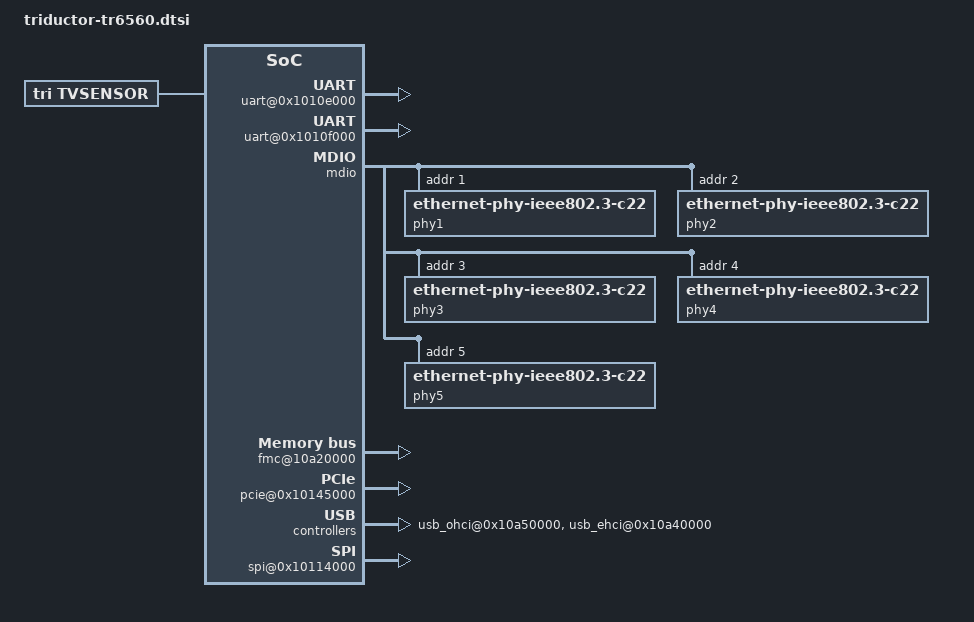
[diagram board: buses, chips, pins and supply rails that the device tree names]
/*
 * dts file for TRIDUCTOR Ltd. tr6560  Board
 *
 * Copyright (C) 2021-07-29, TRIDUCTOR Ltd.
 *
 */

#include <dt-bindings/gpio/gpio.h>
#include <dt-bindings/input/input.h>
#include <dt-bindings/phy/phy.h>
#include <dt-bindings/interrupt-controller/irq.h>
#include <dt-bindings/interrupt-controller/arm-gic.h>
 
/dts-v1/;

/ {
	compatible = "triductor,tr6560";
	#address-cells = <1>;
	#size-cells = <1>;   
	interrupt-parent = <&gic>;
	
	chosen {
		bootargs = "noinitrd mem=110M@0x80000000 console=ttyS1,115200  mtdparts=10a20000.fmc:512K(boot),8M(kernela),16M(rootfsa)";
	};
	
	cpus {
		#address-cells = <0x1>;
		#size-cells = <0x0>;
		enable-method = "tri,tr6560-cpu-method";

		cpu@0 {
			device_type = "cpu";
			compatible = "arm,cortex-a9";
			reg = <0x0>;
		};

		cpu@1 {
			device_type = "cpu";
			compatible = "arm,cortex-a9";
			reg = <0x1>;
		};
	};
	
	reserved-memory {
		#address-cells = <1>;
		#size-cells = <1>;
		ranges;

		lsw_napt_reserved: lsw_napt@0x80000000 {
			compatible = "tri,lsw_napt_reserved"; 
			reg = <0x80000000 0x600000>;
			no-map;
		};
		flashinfo_reserved: flashinfo@0x80c00000 {
			compatible = "tri,flashinfo_reserved"; 
			reg = <0x80600000 0x4000>; /* kernel boot-param mem 16K */
			no-map;
		};
	};

	gic: interrupt-controller {
		compatible = "arm,cortex-a9-gic"; 
		#interrupt-cells = <0x3>;
		#address-cells = <0x0>;
		interrupt-controller;
		/* gic dist base, gic cpu base */
		reg = <0x10181000 0x1000>, 
			<0x10180100 0x100>; 
	};

	scu@0x10180000 {
		compatible = "arm,cortex-a9-scu";
		reg = <0x10180000 0x1000>;
	};
	
	sysctrl: system-controller@10100000 {
			compatible = "tri,sysctrl";
			#address-cells = <1>;
			#size-cells = <1>;
			reg = <0x10100000 0x1000>;
			smp-offset = <0xc08>;
		};
		
	crg@14880000 {
			compatible = "tri,crg";
			#address-cells = <1>;
			#size-cells = <1>;
			reg = <0x14880000 0x1000>;
			resume-offset = <0x38>;
			reboot-offset = <0x0>;
			clr-wdg-offset = <0x70>;
			set-wdg-offset = <0x50>;
			switch-wdg-offset = <0x64>;
		};
		
	iomux@14900000 {
			compatible = "tri,iomux";
			#address-cells = <1>;
			#size-cells = <1>;
			reg = <0x14900000 0x1000>;
			jtag-sel-offset = <0x108>;
		};
	
	arm_timer_clk: arm_timer_clk {
			#clock-cells = <0>;
			compatible = "fixed-clock";
			clock-frequency = <250000000>; // 1Ghz,div 4(cpu主频4分频)
		};

	local_timer@10180600 {
		compatible = "arm,cortex-a9-twd-timer";
		reg = <0x10180600 0x20>;
		interrupts = <1 13 0xf04>;
		clocks = <&arm_timer_clk>;
	};
	
	timer0: timer@10104000 {
			compatible = "arm,sp804";
			reg = <0x10104000 0x1000>;
			interrupts = <1 47 0x4>; //79
			/* timer00 & timer01 */
			clocks = <0x2>;
		};
	
	clk_uart: 100000000{
		compatible = "fixed-clock";
		#clock-cells = <0x0>;
		clock-frequency = <100000000>;
		clock-output-names = "clk_uart";
		linux,phandle = <0x2>;
		phandle = <0x2>;
	};
	
	uart@0x1010e000 {
		compatible = "snps,dw-apb-uart";
		bus_id = "uart0";
		reg = <0x1010e000 0x1000>;
		clocks = <0x2>;
		clock-names = "apb_pclk";
		reg-shift = <0x2>;
		interrupts = <0x0 0x2d 0x4>;
		tty_name = "ttyAMA";
	};

	uart@0x1010f000 {
		compatible = "snps,dw-apb-uart";
		bus_id = "uart1";
		reg = <0x1010f000 0x1000>;
		clocks = <0x2>;
		clock-names = "apb_pclk";
		reg-shift = <0x2>;
		interrupts = <0x0 0x2e 0x4>;
		tty_name = "ttyS";
	};
	
	L2: l2-cache {
		compatible = "arm,pl310-cache";
		reg = <0x7f000000 0x1000>;
		cache-unified;
		cache-level = <2>;
	};
	
	pie{
		compatible = "tri,pie";
		dma-coherent;
		interrupts = <0 88 4>, // 120
			     <0 89 4>, // 121
			     <0 90 4>, // 122
			     <0 91 4>; // 123
		phy-mode = "internal";
		
		mdio: mdio-bus {
		compatible = "tri,tr6560-mdio";
		#address-cells = <1>;
		#size-cells = <0>;
		
		phy1: ethernet-phy@1 {
			reg = <1>;
			compatible = "ethernet-phy-ieee802.3-c22";
		};

		phy2: ethernet-phy@2 {
			reg = <2>;
			compatible = "ethernet-phy-ieee802.3-c22";
		};

		phy3: ethernet-phy@3 {
			reg = <3>;
			compatible = "ethernet-phy-ieee802.3-c22";
		};

		phy4: ethernet-phy@4 {
			reg = <4>;
			compatible = "ethernet-phy-ieee802.3-c22";
		};

		phy5: ethernet-phy@5 {
			reg = <5>;
			compatible = "ethernet-phy-ieee802.3-c22";
		};

		};
		
		halport0: halport{
		compatible = "tri,tr6560-halport";
	};

	};

	fmc@10a20000 {
		compatible = "tri,fmc";
		bus_id = "fmc";
		reg = <0x10a20000 0x1000>,
			<0x1c000000 0x100000>;
		spi_cs = <0x1>;  

		partitions {
			compatible = "fixed-partitions";
			#address-cells = <1>;
			#size-cells = <1>;

			uboot{
				label = "uboot";
				reg = <0x000000000000 0x80000>;
			};

			kernelA{
				label = "kernelA";
				reg = <0x000000080000  0x800000>;
			};

			rootfsA{
				label = "rootfsA";
				reg = <0x000000880000  0x2000000>;
				read-only;
			};

			firmwareA{
				label = "firmwareA";
				reg = <0x000000080000  0x2800000>;
			};

			kernelB{
				label = "kernelB";
				reg = <0x000002880000  0x800000>;
			};

			rootfsB{
				label = "rootfsB";
				reg = <0x000003080000  0x2000000>;
				read-only;
			};

			firmwareB{
				label = "firmwareB";
				reg = <0x000002880000  0x2800000>;
			};

			rootfs_data{
				label = "rootfs_data";
				reg = <0x000005080000  0x2E00000>;
			};

			equip{
				label = "equip";
				reg = <0x000007E80000  0x80000>;
			};

			wlanrf{
				label = "wlanrf";
				reg = <0x000007F00000  0x80000>;
			};

			upgflag{
				label = "upgflag";
				reg = <0x000007F80000  0x80000>;
			};
		};
	};
	
	pcie@0x10145000 {
		compatible = "tri,pcie";
		dma-coherent;
		pcie_num   = <0x2>;
		interrupts = <0 59 4>,   // 91
			     <0 63 4>;   // 95
		reg = <0x10160000 0x1000>,     // DBI
			<0x10164000 0x1000>,
			<0x10161000 0x3000>,   // APB
			<0x10165000 0x3000>, 
			<0x40000000 0x4000000>, // IORESOURCE_MEM, 64M
			<0x58000000 0x4000000>,
			<0x41000000 0x2000000>, // IORESOURCE_IO, 32M
			<0x59000000 0x2000000>, 
			<0x50000000 0x4000>,   // config space 16k
			<0x68000000 0x4000>;
		iatu0 = <0x0 0x4 0x80000000 0x50000000 0x0 0x57FFFFFF 0x0 0x0>,
			<0x1 0x0 0x80000000 0x40000000 0x0 0x4FFFFFFF 0x40000000 0x0>;
		iatu1 = <0x0 0x4 0x80000000 0x68000000 0x0 0x6FFFFFFF 0x0 0x0>,
			<0x1 0x0 0x80000000 0x58000000 0x0 0x58FFFFFF 0x58000000 0x0>;
	};

	tvsensor{
		compatible = "tri,tvsensor";
		interrupts = <0 144 4>;  // 176
	};
	
	gpio0: gpio@0x10106000{
		compatible = "tri,gpio0";
		gpio-controller;
		#gpio-cells = <2>;
		interrupt-controller;
		interrupt-parent = <&gic>;
		#interrupt-cells = <2>;
		interrupts = <0 48 4>,   // 80 2组gpio，中断号统一映射
			     <0 49 4>;   // 81
		reg = <0x10106000 0x2000>; //2组gpio，io resource统一申请
	};
	
	usb_phy@0x1016c000{
		compatible = "tri,usb_phy";
		reg = <0x1016c000 0x1000>;
	};
	
	usb_ohci@0x10a50000{
		reg = <0x10a50000 0x10000>;
		compatible = "generic-ohci";
		dma-coherent;
		interrupts = <0 35 4>; //67
	};

	usb_ehci@0x10a40000{
		reg = <0x10a40000 0x10000>;
		compatible = "generic-ehci";
		dma-coherent;
		interrupts = <0 36 4>; //68
	};

	spi@0x10114000 {
		compatible = "tri,spi";
		reg = <0x10114000 0x1000>;
		interrupts = <0 75 4>;
		#address-cells = <1>;
		#size-cells = <0>;
	};

	dmac@0x15200000 {
		compatible = "tri,dmac";
		reg = <0x15200000 0x1000>;
		interrupts = <0 58 4>;
		chan_num = <16>;
	};
};
